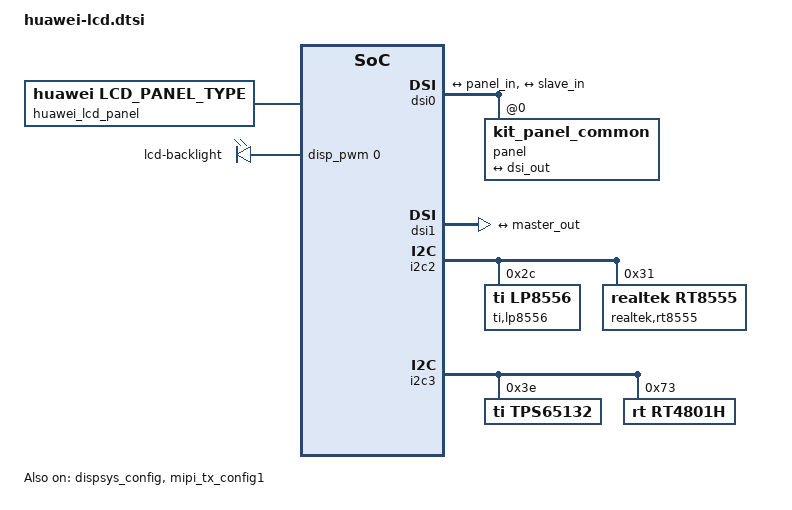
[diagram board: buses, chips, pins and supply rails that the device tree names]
#include "../lcdkit3.0/mrr/devkit_lcd_kit.dtsi"

&huawei_lcd_panel {
		compatible = "huawei,lcd_panel_type";
		product_id = <4000>;
		detect_type = <2>; /*0:DETECT_GPIOID  1:DETECT_CHIPID  2:DETECT_LCD_TYPE */
		gpio_id = <78 76>; /*ID0 ID1*/
		support_lcd_type = "LCD_KIT";
		iovcc_lcd = <2 184>;
};

&reserved_memory {
};


/* chosen */
&chosen {

	atag,videolfb-fb_base_l = <0x7e020000>;
	atag,videolfb-fb_base_h = <0x0>;
	atag,videolfb-islcmfound = <1>;
	atag,videolfb-islcm_inited = <0>;
	atag,videolfb-fps= <6000>;
	atag,videolfb-vramSize= <0x1be0000>;
	atag,videolfb-lcmname=
		"nt35595_fhd_dsi_cmd_truly_nt50358_drv";
};

/* DISPSYS GPIO standardization */
&pio {
	mtkfb_pins_lcm_dsi_te: lcm_dsi_te {
		pins_cmd_dat {
			pinmux = <PINMUX_GPIO41__FUNC_DSI_TE>;
		};
	};
	panel_pins_default: panel_pins_default {
		pins_cmd_dat {
			pinmux = <PINMUX_GPIO42__FUNC_GPIO42>,
				<PINMUX_GPIO40__FUNC_DISP_PWM>;
			slew-rate = <1>;
			output-high;
		};
	};
};

&dispsys_config {
	pinctrl-names =
		"mode_te_te";
	pinctrl-0 = <&mtkfb_pins_lcm_dsi_te>;
	status = "okay";
};

&dsi0 {
	status = "okay";
	#address-cells = <1>;
	#size-cells = <0>;
	panel@0 {
		compatible = "kit_panel_common";
		reg = <0>;
		pinctrl-0 = <&panel_pins_default>;
		port {
			panel_in: endpoint {
				remote-endpoint = <&dsi_out>;
			};
		};
	};
	ports {
		#address-cells = <1>;
		#size-cells = <0>;
		port@0 {
			reg = <0>;
			dsi_out: endpoint {
				remote-endpoint = <&panel_in>;
			};
		};
		port@1 {
			reg = <1>;
			master_out: endpoint {
				remote-endpoint = <&slave_in>;
			};
		};
	};
};

&dsi1 {
	mediatek,dual-dsi-slave;
	status = "okay";
	ports {
		#address-cells = <1>;
		#size-cells = <0>;
		port@1 {
			reg = <1>;
			slave_in: endpoint {
				remote-endpoint = <&master_out>;
			};
		};
	};
};

&mipi_tx_config1 {
	status = "okay";
};

&disp_leds {
	compatible = "mediatek,disp-leds";

	backlight {
		label = "lcd-backlight";
		max-brightness = <4095>;
		led-bits = <12>;
		trans-bits = <11>;
		default-state = "on";
	};
};

&pwmleds {
	compatible = "mediatek,pwm-leds";

	backlight {
		label = "lcd-backlight";
		pwms = <&disp_pwm 0 500000>;
		max-brightness = <3560>;
		led-bits = <12>;
		trans-bits = <11>;
		pwm-names = "lcd-backlight";
		default-state = "half";
	};
};

&i2c2{
	#address-cells = <1>;
	#size-cells = <0>;
	ti,lp8556@2c{
		compatible = "ti,lp8556";
		lp8556_support = <1>;
		reg = <0x2c>;
		dual_ic = <1>;
		lp8556_i2c_bus_id = <2>;
		lp8556_2_i2c_bus_id = <3>;
		lp8556_hw_enable = <1>;
		lp8556_hw_en_gpio = <17>;
		lp8556_2_hw_en_gpio = <14>;
		bl_on_lk_mdelay = <20>;
		bl_on_kernel_mdelay = <32>;
		bl_led_num = <5>;
		lp8556_device_control = <0x81>;
		lp8556_eprom_cfg0 = <0xff>;
		lp8556_eprom_cfg1 = <0xbf>;
		lp8556_eprom_cfg2 = <0x28>;
		lp8556_eprom_cfg3 = <0x52>;
		lp8556_eprom_cfg4 = <0x12>;
		lp8556_eprom_cfg5 = <0x10>;
		lp8556_eprom_cfg6 = <0x80>;
		lp8556_eprom_cfg7 = <0xf7>;
		lp8556_eprom_cfg9 = <0x60>;
		lp8556_eprom_cfgA = <0x0f>;
		lp8556_eprom_cfgE = <0x0e>;
		lp8556_eprom_cfg9E = <0x22>;
		lp8556_led_enable = <0x1f>;
		lp8556_level_lsb = <0x10>;
		lp8556_level_msb = <0x11>;
	};
	realtek,rt8555@31{
		compatible = "realtek,rt8555";
		rt8555_support = <1>;
		reg = <0x31>;
		dual_ic = <1>;
		rt8555_i2c_bus_id = <2>;
		rt8555_2_i2c_bus_id = <3>;
		rt8555_hw_enable = <1>;
		rt8555_hw_en_gpio = <17>;
		rt8555_2_hw_en_gpio = <14>;
		bl_on_lk_mdelay = <0>;
		bl_on_kernel_mdelay = <0>;
		bl_led_num = <5>;
		bl_set_long_slope = <0x70>;
		rt8555_control_mode = <0xC1>;
		rt8555_current_protection = <0xC7>;
		rt8555_current_setting = <0x97>;
		rt8555_voltage_setting = <0x00>;
		rt8555_brightness_setting = <0x10>;
		rt8555_time_control = <0x7F>;
		rt8555_mode_devision = <0x04>;
		rt8555_compensation_duty  = <0x00>;
		rt8555_clk_pfm_enable  = <0x00>;
		rt8555_led_protection = <0x00>;
		rt8555_level_lsb = <0x04>;
		rt8555_level_msb = <0x05>;
		rt8555_reg_config_50 = <0x01>;
	};
};
&i2c3{
	#address-cells = <1>;
	#size-cells = <0>;
	tps65132@3e{
		compatible = "ti,tps65132";
		reg = <0x3e>;
		tps65132_i2c_bus_id = <3>;
		tps65132_support = <1>;
	};
	rt4801h@73{
		compatible = "rt,rt4801h";
		reg = <0x73>;
		rt4801h_i2c_bus_id = <3>;
		rt4801h_support = <1>;
	};
};
